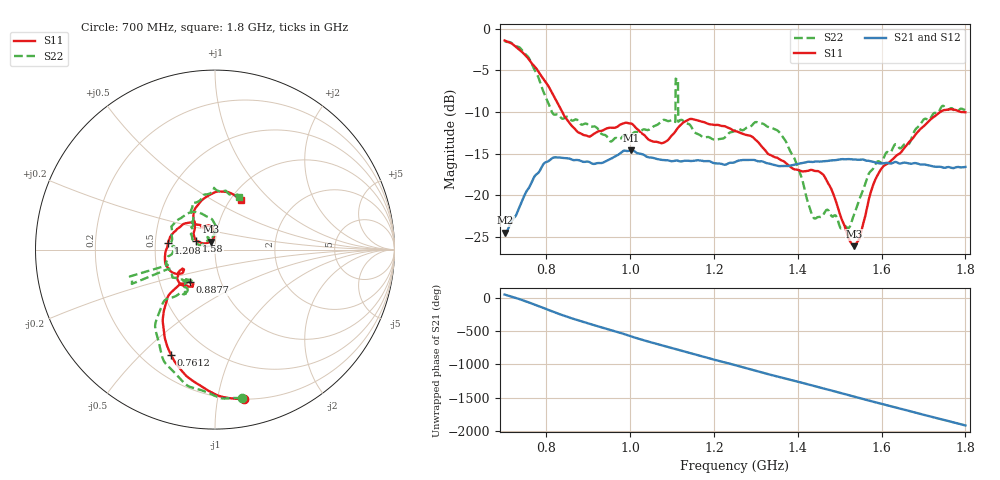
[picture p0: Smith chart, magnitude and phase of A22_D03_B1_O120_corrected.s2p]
! Created with skrf 1.9.0 (http://scikit-rf.org).
# Hz S RI R 50.0
!freq ReS11 ImS11 ReS21 ImS21 ReS12 ImS12 ReS22 ImS22
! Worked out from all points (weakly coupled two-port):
!   1601 points, 700 MHz to 1.8 GHz, reference 50 ohm
!   highest |S21| = -14.59 dB at 1.002 GHz (marker M1); lowest = -24.5 dB at 701.4 MHz (marker M2)
!   lowest |S11| = -26.1 dB at 1.535 GHz (marker M3), VSWR 1.10, Z = 47.5 + j4.15 ohm
!   |S11| at or under -10 dB: 837.4 MHz to 1.74 GHz (902.9 MHz wide, 70.1 % of centre); 1.789 GHz to end of sweep
!   |S22| runs from -24.0 to -1.5 dB; largest |S21 - S12| = 0.0034
!   S11 on the Smith chart (normalised r, x): 700 MHz: 0.20, -1.19; 761.2 MHz: 0.31, -0.62; 887.7 MHz: 0.71, -0.27; 1.208 GHz: 0.58, +0.05; 1.58 GHz: 0.81, +0.08; 1.8 GHz: 1.12, +0.69
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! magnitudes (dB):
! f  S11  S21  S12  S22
! 700 MHz  -1.4  -24.5  -24.3  -1.5
! 701.4 MHz  -1.4  -24.5  -24.1  -1.5
! 761.2 MHz  -3.9  -18.8  -18.7  -3.8
! 815.5 MHz  -7.9  -15.5  -15.6  -10.2
! 883.6 MHz  -12.6  -15.9  -15.8  -11.5
! 887.7 MHz  -12.8  -16.0  -15.9  -11.5
! 1.002 GHz  -11.4  -14.6  -14.7  -12.8
! 1.067 GHz  -13.6  -15.7  -15.6  -11.5
! 1.102 GHz  -12.7  -15.9  -15.8  -11.0
! 1.114 GHz  -11.9  -15.8  -15.9  -6.1
! 1.12 GHz  -11.6  -15.9  -15.8  -11.0
! 1.208 GHz  -11.6  -16.2  -16.2  -13.3
! 1.25 GHz  -12.3  -16.0  -16.0  -12.3
! 1.356 GHz  -15.7  -16.5  -16.4  -12.4
! 1.434 GHz  -17.0  -16.0  -16.0  -22.3
! 1.467 GHz  -18.0  -15.9  -15.9  -21.9
! 1.505 GHz  -22.9  -15.7  -15.7  -24.0
! 1.535 GHz  -26.1  -15.7  -15.7  -22.3
! 1.58 GHz  -18.8  -16.0  -16.0  -16.8
! 1.617 GHz  -16.1  -16.2  -16.1  -14.9
! 1.74 GHz  -10.0  -16.6  -16.6  -9.6
! 1.8 GHz  -10.0  -16.6  -16.6  -9.8
